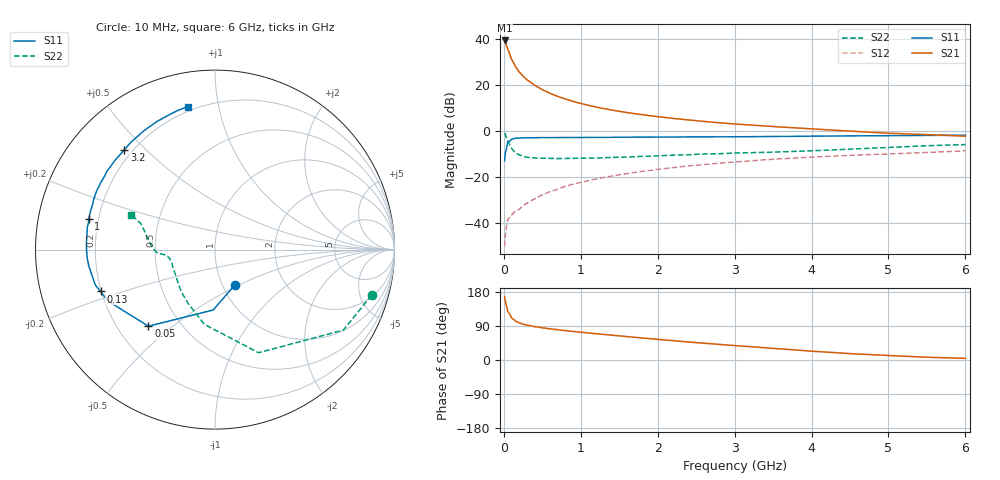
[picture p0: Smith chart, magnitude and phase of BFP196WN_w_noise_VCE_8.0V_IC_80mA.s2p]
! Infineon Technologies  Discrete & RF Semiconductors
! BFP196WN
! VCE =  8.0 V,  IC =  80 mA
! Common Emitter S-Parameters:  Jan 2017
# GHz  S  MA  R  50
!  f  S11  S21  S12  S22
! GHz  MAG  ANG  MAG  ANG  MAG  ANG  MAG  ANG
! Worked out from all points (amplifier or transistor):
!   77 points, 10 MHz to 6 GHz, reference 50 ohm
!   highest |S21| = 39.4 dB at 10 MHz (marker M1)
!   |S21| within 3 dB of that: start of sweep to 41.51 MHz
!   unconditionally stable (mu >= 1): 568.9 MHz to 2.407 GHz
!   at 130 MHz: K = 0.62, MSG = 32.5 dB, |S12| = -35.5 dB
!   at 2.2 GHz: K = 1.02, MAG = 9.9 dB, |S12| = -16.0 dB
!   at 6 GHz: K = 0.90, MSG = 3.2 dB, |S12| = -8.7 dB
!   lowest NFmin = 1.58 dB at 450 MHz
!   S11 on the Smith chart (normalised r, x): 10 MHz: 1.15, -0.47; 50 MHz: 0.33, -0.41; 130 MHz: 0.20, -0.17; 1 GHz: 0.16, +0.12; 3.2 GHz: 0.17, +0.43; 6 GHz: 0.17, +0.81
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0.01  0.2258 -60.5  93.79 166.7  0.0031 77.9  0.9088 -16.2
0.02  0.3367 -91.7  84.74 153.8  0.0056 74.2  0.8443 -32.1
0.05  0.5655 -131.0  61.12 128.6  0.0115 52.4  0.6236 -67.1
0.1  0.6599 -154.1  36.39 110.8  0.0147 50.5  0.4209 -98.1
0.13  0.6792 -159.9  29.77 106.7  0.0167 52.7  0.3658 -107.9
0.15  0.6958 -163.6  25.47 102.8  0.018 53.9  0.3366 -116.1
0.2  0.7015 -169.1  19.38 98.0  0.0197 57.7  0.3022 -128.0
0.25  0.7089 -172.5  15.65 94.6  0.0237 59.8  0.2821 -135.7
0.3  0.7127 -175.5  13.09 92.1  0.0267 61.9  0.2683 -142.3
0.4  0.7155 -179.5  9.901 88.0  0.0332 67.2  0.2582 -150.1
0.5  0.7171 177.4  7.935 85.0  0.0407 68.2  0.2551 -155.6
0.6  0.7175 174.9  6.63 82.3  0.0478 69.2  0.2532 -159.7
0.8  0.7222 170.2  4.97 77.5  0.0624 70.5  0.2517 -164.1
1  0.7229 166.4  3.983 73.2  0.0758 70.4  0.2556 -167.5
1.1  0.7248 164.6  3.625 71.3  0.0831 70.3  0.2566 -168.7
1.5  0.7303 158.0  2.68 63.7  0.1111 68.4  0.2671 -172.2
2.1  0.7379 148.5  1.968 52.8  0.1525 64.3  0.2921 -174.8
3.1  0.7494 133.7  1.387 36.7  0.2174 56.1  0.3343 -179.0
3.2  0.7513 132.3  1.352 35.3  0.2235 55.2  0.3372 -179.7
4.1  0.7735 119.5  1.088 22.0  0.2748 47.6  0.3766 171.4
5.1  0.7933 108.7  0.882 10.9  0.3213 39.9  0.4454 160.2
6  0.8115 100.8  0.772 4.3  0.369 33.8  0.5059 157.7
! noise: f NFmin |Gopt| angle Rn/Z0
0.45  1.58  0.58  -175  0.05
0.9  1.71  0.59  -168  0.07
1.9  2.67  0.7  -146  0.21
2.4  3.48  0.71  -138  0.35
